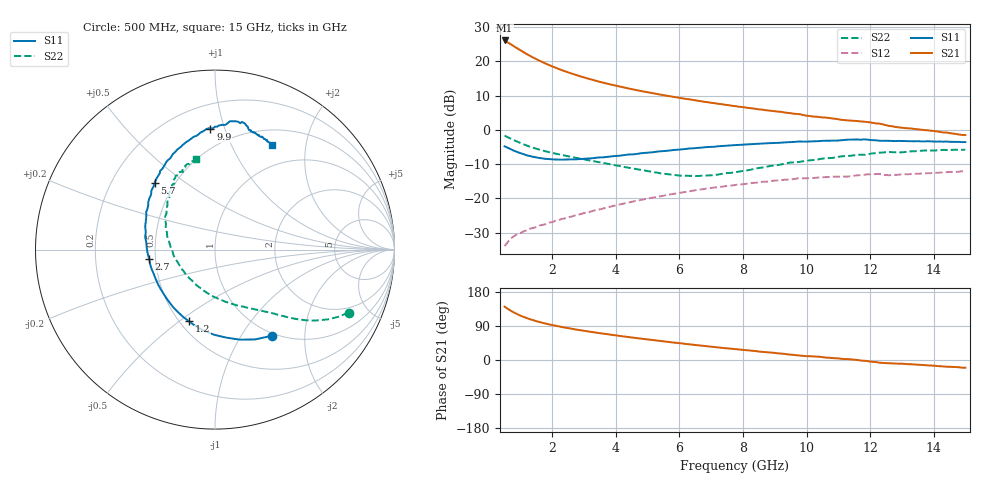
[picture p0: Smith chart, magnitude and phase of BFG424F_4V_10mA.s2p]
! Filename BFG424F_4V_10mA.prm
! Simulation_Values
! Created	by	janssen	on	nov	2006
!	Column ranking S11, S21,S12,S22 both magnitude and phase.
!	VCE	=	4	V,	IC	=	10	mA
!	Common	Emitter	S-Parameters
#	GHZ	S	MA	R	50
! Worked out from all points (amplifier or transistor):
!   146 points, 500 MHz to 15 GHz, reference 50 ohm
!   highest |S21| = 26.1 dB at 500 MHz (marker M1)
!   |S21| within 3 dB of that: start of sweep to 1.019 GHz
!   unconditionally stable (mu >= 1): 2.414 GHz to end of sweep
!   at 2.9 GHz: K = 1.08, MAG = 18.4 dB, |S12| = -24.6 dB
!   at 7.8 GHz: K = 1.16, MAG = 9.0 dB, |S12| = -16.0 dB
!   at 15 GHz: K = 1.42, MAG = 1.4 dB, |S12| = -12.1 dB
!   S11 on the Smith chart (normalised r, x): 500 MHz: 0.96, -1.38; 1.2 GHz: 0.56, -0.54; 2.7 GHz: 0.46, -0.06; 5.7 GHz: 0.39, +0.39; 9.9 GHz: 0.36, +0.89; 15 GHz: 0.70, +1.45
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0.5  0.575 -56.6  20.24 140.8  0.02 65.1  0.823 -25.3
0.6  0.548 -66.0  18.97 134.9  0.023 61.8  0.781 -28.7
0.7  0.52 -74.8  17.74 129.7  0.026 60.3  0.742 -31.6
0.8  0.494 -82.8  16.56 125.0  0.028 58.8  0.705 -33.9
0.9  0.475 -90.5  15.49 120.8  0.03 57.7  0.672 -36.1
1  0.457 -97.3  14.51 117.0  0.031 57.0  0.642 -37.8
1.2  0.425 -109.9  12.78 110.5  0.034 56.3  0.59 -40.8
1.3  0.414 -115.7  12.05 107.6  0.036 56.2  0.567 -42.1
1.5  0.396 -126.3  10.78 102.5  0.038 56.2  0.53 -44.3
1.8  0.377 -140.3  9.262 95.9  0.042 57.1  0.484 -47.4
2.2  0.368 -155.6  7.768 88.7  0.048 58.4  0.44 -51.4
2.7  0.37 -171.7  6.438 81.0  0.056 60.3  0.394 -57.1
3  0.378 -179.3  5.829 77.0  0.061 61.1  0.372 -60.7
3.5  0.396 168.9  5.024 70.7  0.069 61.8  0.337 -67.9
4  0.415 158.4  4.42 64.9  0.079 62.1  0.303 -76.3
5.4  0.486 136.2  3.284 50.2  0.107 59.8  0.232 -108.3
5.7  0.501 132.2  3.104 47.2  0.114 59.0  0.224 -116.8
7.8  0.6 109.4  2.21 28.5  0.158 51.1  0.242 179.9
9.9  0.673 92.2  1.644 10.9  0.196 40.2  0.349 140.8
10.2  0.68 90.5  1.566 9.5  0.198 39.1  0.363 137.0
12.6  0.692 73.4  1.142 -8.6  0.217 28.0  0.475 114.4
15  0.663 61.4  0.84 -20.3  0.247 19.5  0.514 101.7
